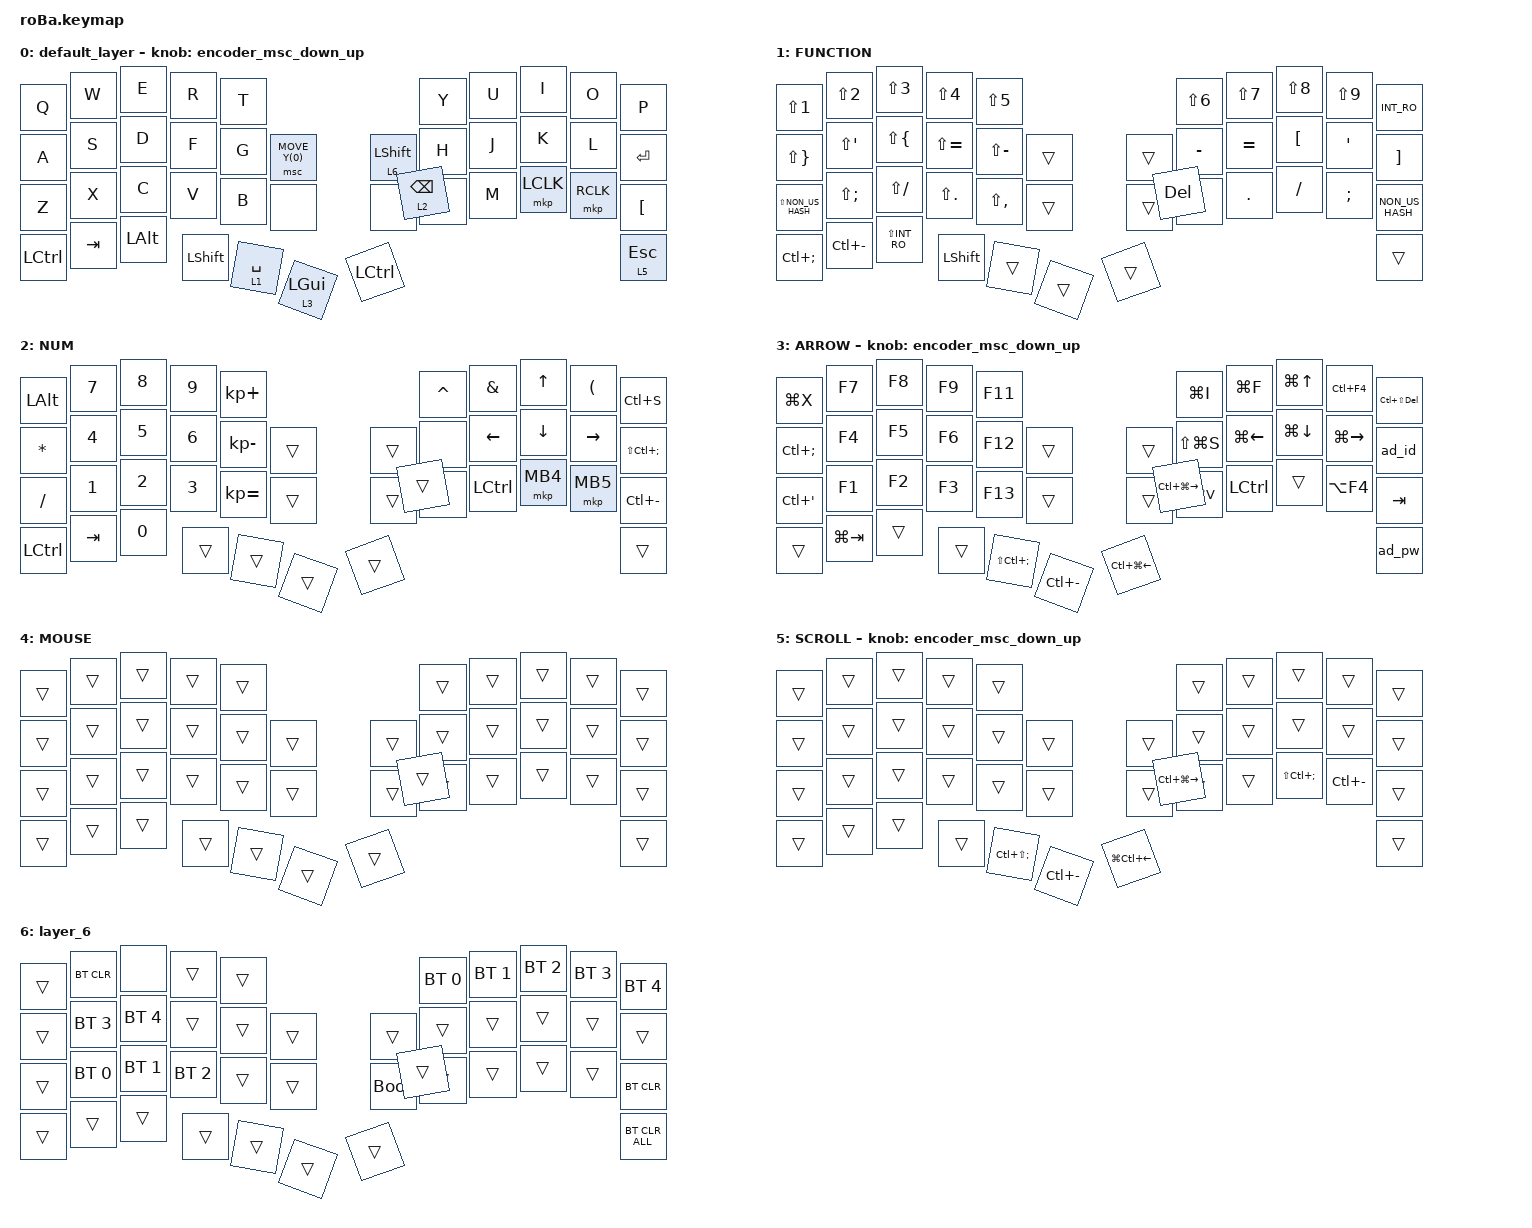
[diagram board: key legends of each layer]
#include <input/processors.dtsi>
#include <dt-bindings/zmk/input_transform.h>
#include <behaviors.dtsi>
#include <dt-bindings/zmk/bt.h>
#include <dt-bindings/zmk/keys.h>
#include <dt-bindings/zmk/pointing.h>

&trackball_listener {
    scroll_mode {
        layers = <5>;
        input-processors = <
            /* 0) スクロール時だけY方向を反転 */
            &zip_xy_transform (INPUT_TRANSFORM_Y_INVERT)

            /* 1) XY移動 → スクロールへ変換（X→水平, Y→垂直） */
            &zip_xy_to_scroll_mapper

            /* 2) 垂直スクロールを x/y 倍（≒ speed 80 相当） */
            &zip_wheel_only_scaler 1 10

            /* 3) 水平スクロールは 0 倍（無効化） */
            &zip_hwheel_killer 0 1
        >;
    };
};

&mt {
    flavor = "balanced";
    quick-tap-ms = <0>;
};

&trackball {
    // automouse-layer = <4>;
    // scroll-layers = <5>;
    // arrows {
    //     layers = <3>;
    //     bindings =
    //         <&kp RIGHT_ARROW>,
    //         <&kp LEFT_ARROW>,
    //         <&kp UP_ARROW>,
    //         <&kp DOWN_ARROW>;
    //     tick = <10>;
    //     wait-ms = <5>;
    //     tap-ms = <5>;
    // };
};

/ {
    input_processors {
        zip_wheel_only_scaler: zip_wheel_only_scaler {
            compatible = "zmk,input-processor-scaler";
            #input-processor-cells = <2>;
            type = <INPUT_EV_REL>;

            /* 垂直スクロールのみ対象 */

            codes = <INPUT_REL_WHEEL>;
            track-remainders;
        };

        zip_hwheel_killer: zip_hwheel_killer {
            compatible = "zmk,input-processor-scaler";
            #input-processor-cells = <2>;
            type = <INPUT_EV_REL>;

            /* 水平スクロールのみ対象 */

            codes = <INPUT_REL_HWHEEL>;
        };
    };

    macros {
        to_layer_0: to_layer_0 {
            compatible = "zmk,behavior-macro-one-param";
            #binding-cells = <1>;
            bindings = <&to 0 &macro_param_1to1 &kp MACRO_PLACEHOLDER>;
            label = "TO_LAYER_0";
        };

        ad_id: ad_id {
            compatible = "zmk,behavior-macro";
            #binding-cells = <0>;
            bindings = <&kp S &kp A &kp T &kp O &kp S &kp H &kp I &kp PERIOD &kp N &kp A &kp K &kp A &kp G &kp A &kp W &kp A &kp SLASH &kp P &kp W &kp C &kp PERIOD &kp C &kp O &kp M>;
            label = "AD_ID";
        };

        ad_pw: ad_pw {
            compatible = "zmk,behavior-macro";
            #binding-cells = <0>;
            bindings = <&kp NUMBER_2 &kp N0 &kp NUMBER_2 &kp NUMBER_5 &kp SLASH &kp LS(K) &kp E &kp I>;
            label = "AD_PW";
        };
    };

    behaviors {
        lt_to_layer_0: lt_to_layer_0 {
            compatible = "zmk,behavior-hold-tap";
            label = "LAYER_TAP_TO_0";
            bindings = <&mo>, <&to_layer_0>;

            #binding-cells = <2>;
            tapping-term-ms = <200>;
        };

        encoder_msc_down_up: encoder_msc_down_up {
            compatible = "zmk,behavior-sensor-rotate";
            label = "ENCODER_MSC_DOWN_UP";
            #sensor-binding-cells = <0>;
            bindings = <&msc SCRL_DOWN>, <&msc SCRL_UP>;

            tap-ms = <20>;
        };
    };

    keymap {
        compatible = "zmk,keymap";

        default_layer {
            bindings = <
&kp Q      &kp W    &kp E         &kp R           &kp T                                                                               &kp Y            &kp U  &kp I      &kp O      &kp P
&kp A      &kp S    &kp D         &kp F           &kp G                   &msc MOVE_Y(0)                 &lt_to_layer_0 6 LEFT_SHIFT  &kp H            &kp J  &kp K      &kp L      &kp ENTER
&kp Z      &kp X    &kp C         &kp V           &kp B                   &none                          &none                        &kp N            &kp M  &mkp LCLK  &mkp RCLK  &kp LEFT_BRACKET
&kp LCTRL  &kp TAB  &kp LEFT_ALT  &kp LEFT_SHIFT  &lt_to_layer_0 1 SPACE  &lt_to_layer_0 3 LEFT_GUI      &kp LEFT_CONTROL             &lt 2 BACKSPACE                               &lt_to_layer_0 5 ESC
            >;

            sensor-bindings = <&encoder_msc_down_up>;
        };

        FUNCTION {
            bindings = <
&kp LS(NUMBER_1)     &kp LS(NUMBER_2)    &kp LS(NUMBER_3)    &kp LS(NUMBER_4)  &kp LS(N5)                         &kp LS(NUMBER_6)  &kp LS(N7)  &kp LS(N8)        &kp LS(N9)      &kp INT_RO
&kp LS(RIGHT_BRACE)  &kp LS(APOSTROPHE)  &kp LS(LEFT_BRACE)  &kp LS(EQUAL)     &kp LS(MINUS)  &trans      &trans  &kp MINUS         &kp EQUAL   &kp LEFT_BRACKET  &kp APOSTROPHE  &kp RIGHT_BRACKET
&kp LS(NON_US_HASH)  &kp LS(SEMI)        &kp LS(SLASH)       &kp LS(PERIOD)    &kp LS(COMMA)  &trans      &trans  &kp COMMA         &kp PERIOD  &kp SLASH         &kp SEMICOLON   &kp NON_US_HASH
&kp LC(SEMICOLON)    &kp LC(MINUS)       &kp LS(INT_RO)      &kp LEFT_SHIFT    &trans         &trans      &trans  &kp DEL                                                         &trans
            >;
        };

        NUM {
            bindings = <
&kp LEFT_ALT      &kp N7        &kp N8        &kp N9        &kp KP_PLUS                       &kp CARET   &kp AMPERSAND     &kp UP_ARROW    &kp LEFT_PARENTHESIS  &kp LC(S)
&kp ASTERISK      &kp NUMBER_4  &kp N5        &kp NUMBER_6  &kp KP_MINUS  &trans      &trans  &none       &kp LEFT_ARROW    &kp DOWN_ARROW  &kp RIGHT_ARROW       &kp LS(LC(SEMI))
&kp SLASH         &kp NUMBER_1  &kp NUMBER_2  &kp NUMBER_3  &kp KP_EQUAL  &trans      &trans  &kp PERIOD  &kp LEFT_CONTROL  &mkp MB4        &mkp MB5              &kp LC(MINUS)
&kp LEFT_CONTROL  &kp TAB       &kp N0        &trans        &trans        &trans      &trans  &trans                                                              &trans
            >;
        };

        ARROW {
            bindings = <
&kp LG(X)     &kp F7       &kp F8  &kp F9  &kp F11                                                     &kp LG(I)          &kp LG(F)           &kp LG(UP_ARROW)    &kp LC(F4)           &kp LC(LS(DELETE))
&kp LC(SEMI)  &kp F4       &kp F5  &kp F6  &kp F12                &trans             &trans            &kp LS(LG(S))      &kp LG(LEFT_ARROW)  &kp LG(DOWN_ARROW)  &kp LG(RIGHT_ARROW)  &ad_id
&kp LC(APOS)  &kp F1       &kp F2  &kp F3  &kp F13                &trans             &trans            &kp LS(LG(V))      &kp LEFT_CONTROL    &trans              &kp LA(F4)           &kp TAB
&trans        &kp LG(TAB)  &trans  &trans  &kp LS(LC(SEMICOLON))  &kp LC(MINUS)      &kp LC(LG(LEFT))  &kp LC(LG(RIGHT))                                                               &ad_pw
            >;

            sensor-bindings = <&encoder_msc_down_up>;
        };

        MOUSE {
            bindings = <
&trans  &trans  &trans  &trans  &trans                      &trans  &trans  &trans  &trans  &trans
&trans  &trans  &trans  &trans  &trans  &trans      &trans  &trans  &trans  &trans  &trans  &trans
&trans  &trans  &trans  &trans  &trans  &trans      &trans  &trans  &trans  &trans  &trans  &trans
&trans  &trans  &trans  &trans  &trans  &trans      &trans  &trans                          &trans
            >;
        };

        SCROLL {
            bindings = <
&trans  &trans  &trans  &trans  &trans                                                      &trans                   &trans  &trans                 &trans         &trans
&trans  &trans  &trans  &trans  &trans                 &trans             &trans            &trans                   &trans  &trans                 &trans         &trans
&trans  &trans  &trans  &trans  &trans                 &trans             &trans            &trans                   &trans  &kp LS(LC(SEMICOLON))  &kp LC(MINUS)  &trans
&trans  &trans  &trans  &trans  &kp LC(LS(SEMICOLON))  &kp LC(MINUS)      &kp LG(LC(LEFT))  &kp LC(LG(RIGHT_ARROW))                                                &trans
            >;

            /* エンコーダ＝スクロールのまま（Ctrl/Cmdをスティッキーにして回す） */

            sensor-bindings = <&encoder_msc_down_up>;
        };

        layer_6 {
            bindings = <
&trans  &bt BT_CLR    &none         &trans        &trans                           &bt BT_SEL 0  &bt BT_SEL 1  &bt BT_SEL 2  &bt BT_SEL 3  &bt BT_SEL 4
&trans  &bt BT_SEL 3  &bt BT_SEL 4  &trans        &trans  &trans      &trans       &trans        &trans        &trans        &trans        &trans
&trans  &bt BT_SEL 0  &bt BT_SEL 1  &bt BT_SEL 2  &trans  &trans      &bootloader  &trans        &trans        &trans        &trans        &bt BT_CLR
&trans  &trans        &trans        &trans        &trans  &trans      &trans       &trans                                                  &bt BT_CLR_ALL
            >;
        };
    };
};
